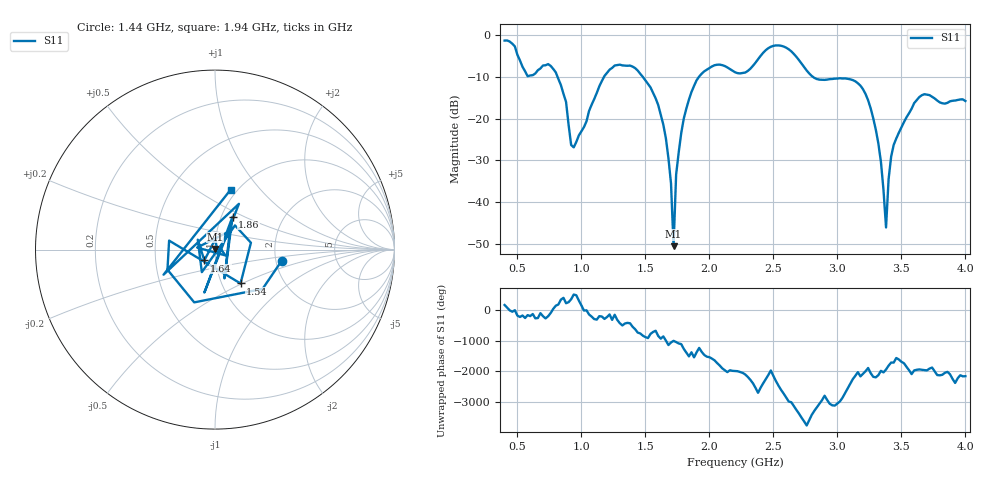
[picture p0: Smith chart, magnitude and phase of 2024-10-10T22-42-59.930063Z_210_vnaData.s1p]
! Created with skrf (http://scikit-rf.org).
# Hz S RI R 50.0
!freq ReS11 ImS11
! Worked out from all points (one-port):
!   181 points, 400 MHz to 4 GHz, reference 50 ohm
!   lowest |S11| = -50.6 dB at 1.72 GHz (marker M1), VSWR 1.01, Z = 50.1 + j0.289 ohm
!   |S11| at or under -10 dB: 813.6 MHz to 1.177 GHz (363 MHz wide, 36.5 % of centre); 1.48 GHz to 1.918 GHz (438.6 MHz wide, 25.8 % of centre); 2.809 GHz to end of sweep
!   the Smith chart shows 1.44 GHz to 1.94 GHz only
!   S11 on the Smith chart (normalised r, x): 1.44 GHz: 2.15, -0.32; 1.54 GHz: 1.22, -0.49; 1.64 GHz: 0.88, -0.11; 1.86 GHz: 1.13, +0.43; 1.94 GHz: 0.93, +0.71
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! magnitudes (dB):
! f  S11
! 400 MHz  -1.3
! 580 MHz  -9.9
! 760 MHz  -7.4
! 860 MHz  -14.1
! 940 MHz  -26.9
! 1.18 GHz  -9.8
! 1.3 GHz  -7.1
! 1.44 GHz  -8.5
! 1.54 GHz  -12.5
! 1.64 GHz  -21.5
! 1.7 GHz  -35.5
! 1.72 GHz  -50.6
! 1.74 GHz  -33.5
! 1.76 GHz  -28.2
! 1.86 GHz  -13.6
! 1.94 GHz  -9.2
! 2.2 GHz  -8.9
! 2.5 GHz  -2.6
! 2.66 GHz  -4.5
! 2.84 GHz  -10.5
! 3.1 GHz  -10.6
! 3.28 GHz  -19.9
! 3.34 GHz  -30.4
! 3.38 GHz  -46.1
! 3.42 GHz  -29.1
! 3.56 GHz  -18.7
! 3.68 GHz  -14.2
! 4 GHz  -15.8
